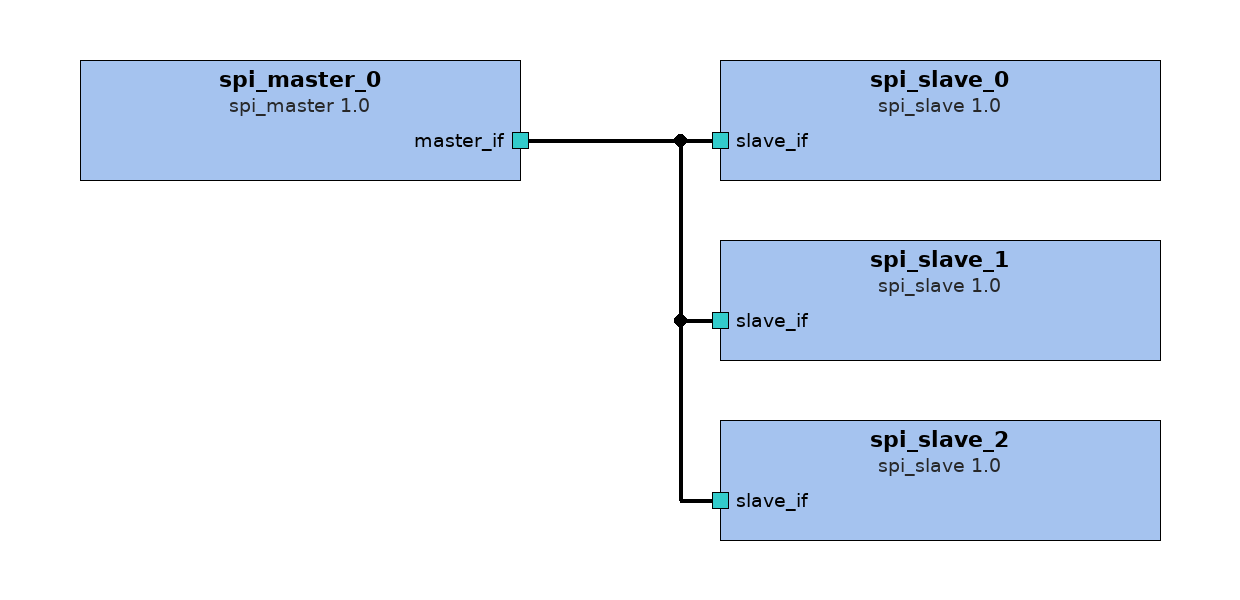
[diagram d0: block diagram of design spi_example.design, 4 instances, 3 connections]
<?xml version="1.0" encoding="UTF-8"?>
<ipxact:design xmlns:xsi="http://www.w3.org/2001/XMLSchema-instance" xmlns:ipxact="http://www.accellera.org/XMLSchema/IPXACT/1685-2014" xmlns:kactus2="http://kactus2.cs.tut.fi" xsi:schemaLocation="http://www.accellera.org/XMLSchema/IPXACT/1685-2014/ http://www.accellera.org/XMLSchema/IPXACT/1685-2014/index.xsd"><ipxact:vendor>tut.fi</ipxact:vendor><ipxact:library>other.subsystem</ipxact:library><ipxact:name>spi_example.design</ipxact:name>
 <ipxact:version>1.0_bus</ipxact:version><ipxact:componentInstances>
 <ipxact:componentInstance><ipxact:instanceName>spi_master_0</ipxact:instanceName><ipxact:componentRef vendor="tut.fi" library="communication.template" name="spi_master" version="1.0"/></ipxact:componentInstance>
 <ipxact:componentInstance><ipxact:instanceName>spi_slave_0</ipxact:instanceName><ipxact:componentRef vendor="tut.fi" library="communication.template" name="spi_slave" version="1.0"/></ipxact:componentInstance>
 <ipxact:componentInstance><ipxact:instanceName>spi_slave_1</ipxact:instanceName><ipxact:componentRef vendor="tut.fi" library="communication.template" name="spi_slave" version="1.0"><ipxact:configurableElementValues><ipxact:configurableElementValue referenceId="uuid_df08f9de_fbe0_4c6c_a979_aeb9011ef1e4">1</ipxact:configurableElementValue></ipxact:configurableElementValues></ipxact:componentRef></ipxact:componentInstance>
 <ipxact:componentInstance><ipxact:instanceName>spi_slave_2</ipxact:instanceName><ipxact:componentRef vendor="tut.fi" library="communication.template" name="spi_slave" version="1.0"><ipxact:configurableElementValues><ipxact:configurableElementValue referenceId="uuid_df08f9de_fbe0_4c6c_a979_aeb9011ef1e4">2</ipxact:configurableElementValue></ipxact:configurableElementValues></ipxact:componentRef></ipxact:componentInstance>
</ipxact:componentInstances><ipxact:interconnections>
 <ipxact:interconnection><ipxact:name>spi_master_0_master_if_to_spi_slave_0_slave_if</ipxact:name><ipxact:activeInterface componentRef="spi_master_0" busRef="master_if"/><ipxact:activeInterface componentRef="spi_slave_0" busRef="slave_if"/></ipxact:interconnection>
 <ipxact:interconnection><ipxact:name>spi_master_0_master_if_to_spi_slave_1_slave_if</ipxact:name><ipxact:activeInterface componentRef="spi_master_0" busRef="master_if"/><ipxact:activeInterface componentRef="spi_slave_1" busRef="slave_if"/></ipxact:interconnection>
 <ipxact:interconnection><ipxact:name>spi_master_0_master_if_to_spi_slave_2_slave_if</ipxact:name><ipxact:activeInterface componentRef="spi_master_0" busRef="master_if"/><ipxact:activeInterface componentRef="spi_slave_2" busRef="slave_if"/></ipxact:interconnection>
</ipxact:interconnections></ipxact:design>

